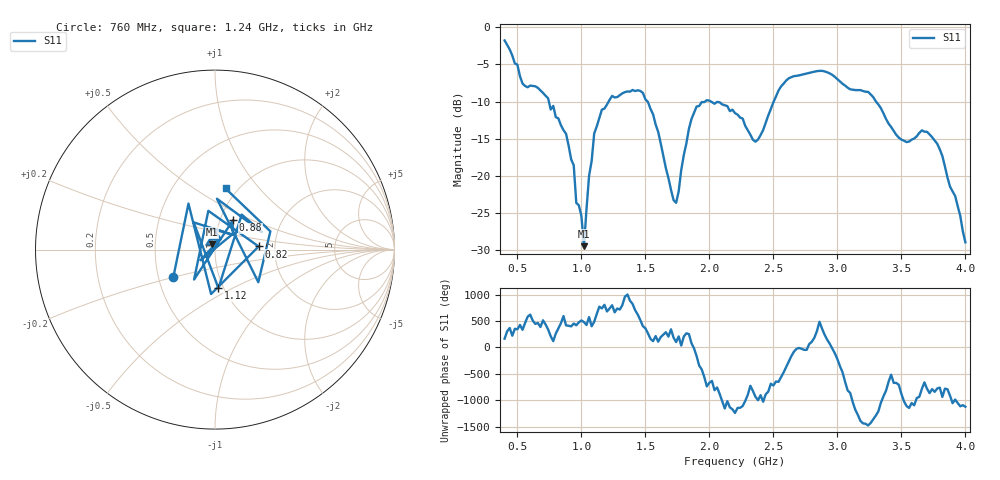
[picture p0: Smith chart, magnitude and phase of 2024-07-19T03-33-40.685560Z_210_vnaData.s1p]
!Created with skrf (http://scikit-rf.org).
# Hz S RI R 50.0
!freq ReS11 ImS11
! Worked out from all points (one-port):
!   181 points, 400 MHz to 4 GHz, reference 50 ohm
!   lowest |S11| = -29.5 dB at 1.02 GHz (marker M1), VSWR 1.07, Z = 48.2 + j2.78 ohm
!   |S11| at or under -10 dB: 745.8 MHz to 1.213 GHz (466.8 MHz wide, 47.7 % of centre); 2.013 GHz to 2.502 GHz (489.5 MHz wide, 21.7 % of centre); 3.302 GHz to end of sweep (the widest 3 of 4)
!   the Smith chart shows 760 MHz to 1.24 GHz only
!   S11 on the Smith chart (normalised r, x): 760 MHz: 0.60, -0.20; 820 MHz: 1.64, +0.06; 880 MHz: 1.15, +0.39; 1.12 GHz: 0.95, -0.43; 1.24 GHz: 0.88, +0.68
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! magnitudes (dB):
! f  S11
! 400 MHz  -1.8
! 540 MHz  -7.6
! 760 MHz  -11.1
! 820 MHz  -12.3
! 860 MHz  -13.8
! 880 MHz  -14.3
! 940 MHz  -18.6
! 960 MHz  -23.6
! 1 GHz  -25.4
! 1.02 GHz  -29.5
! 1.06 GHz  -20.0
! 1.12 GHz  -13.3
! 1.24 GHz  -9.2
! 1.3 GHz  -9.1
! 1.48 GHz  -8.8
! 1.6 GHz  -14.1
! 1.72 GHz  -23.3
! 1.76 GHz  -22.1
! 1.84 GHz  -13.7
! 1.9 GHz  -10.7
! 2.2 GHz  -11.5
! 2.36 GHz  -15.4
! 2.66 GHz  -6.6
! 3.1 GHz  -8.3
! 3.24 GHz  -8.7
! 3.56 GHz  -15.4
! 3.78 GHz  -15.7
! 4 GHz  -28.9
